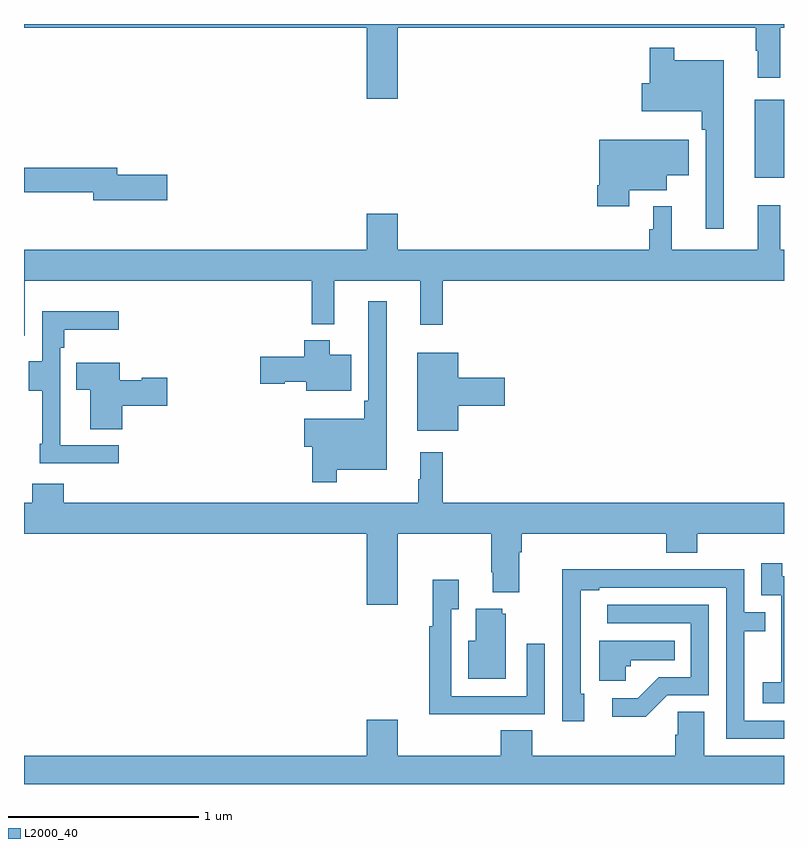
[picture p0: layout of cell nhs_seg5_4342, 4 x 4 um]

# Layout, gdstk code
import gdstk
lib = gdstk.Library(unit=1e-6, precision=1e-09)
def R(c, l, rs):  # rectangles x0, y0, x1, y1
    for r in rs: c.add(gdstk.rectangle(r[:2], r[2:], *l))
def P(c, l, *ps):  # polygons
    for p in ps: c.add(gdstk.Polygon(p, *l))
L2000_40 = (2000, 40)

nhs_seg5_4342 = lib.new_cell('nhs_seg5_4342')
R(nhs_seg5_4342, L2000_40, [(370.847,835.991,371,836.401)])
P(nhs_seg5_4342, L2000_40, [(368.968,836.78),(370.851,836.78),(370.851,836.657),(370.862,836.657),(370.862,836.517),(370.979,836.517),(370.979,836.78),(371,836.78),(371,836.799),(367,836.799),(367,836.78),(368.804,836.78),(368.804,836.406),(368.968,836.406)],
  [(370.684,836.608),(370.423,836.608),(370.423,836.674),(370.294,836.674),(370.294,836.487),(370.25,836.487),(370.25,836.339),(370.567,836.339),(370.567,836.243),(370.587,836.243),(370.587,835.722),(370.684,835.722)],
  [(370.186,835.925),(370.384,835.925),(370.384,836.003),(370.498,836.003),(370.498,836.191),(370.028,836.191),(370.028,835.951),(370.016,835.951),(370.016,835.839),(370.186,835.839)],
  [(367.753,836.006),(367.492,836.006),(367.492,836.042),(367,836.042),(367,835.914),(367.364,835.914),(367.364,835.871),(367.753,835.871)],
  [(367.005,835.448),(368.515,835.448),(368.515,835.22),(368.633,835.22),(368.633,835.448),(369.086,835.448),(369.086,835.215),(369.203,835.215),(369.203,835.448),(371,835.448),(371,835.612),(370.979,835.612),(370.979,835.846),(370.862,835.846),(370.862,835.612),(370.409,835.612),(370.409,835.84),(370.311,835.84),(370.311,835.719),(370.291,835.719),(370.291,835.612),(368.968,835.612),(368.968,835.801),(368.804,835.801),(368.804,835.612),(367,835.612),(367,835.158),(367.005,835.158)],
  [(368.647,834.452),(368.908,834.452),(368.908,835.339),(368.811,835.339),(368.811,834.817),(368.791,834.817),(368.791,834.721),(368.474,834.721),(368.474,834.574),(368.518,834.574),(368.518,834.387),(368.647,834.387)],
  [(367.498,834.582),(367.192,834.582),(367.192,834.779),(367.191,834.779),(367.191,835.094),(367.211,835.094),(367.211,835.19),(367.498,835.19),(367.498,835.288),(367.095,835.288),(367.095,835.023),(367.025,835.023),(367.025,834.868),(367.095,834.868),(367.095,834.589),(367.083,834.589),(367.083,834.486),(367.498,834.486)],
  [(368.722,835.057),(368.608,835.057),(368.608,835.135),(368.474,835.135),(368.474,835.047),(368.244,835.047),(368.244,834.905),(368.373,834.905),(368.373,834.917),(368.486,834.917),(368.486,834.869),(368.722,834.869)],
  [(369.286,834.791),(369.529,834.791),(369.529,834.938),(369.286,834.938),(369.286,835.069),(369.071,835.069),(369.071,834.659),(369.286,834.659)],
  [(367.517,834.791),(367.753,834.791),(367.753,834.938),(367.62,834.938),(367.62,834.925),(367.504,834.925),(367.504,835.015),(367.276,835.015),(367.276,834.875),(367.349,834.875),(367.349,834.667),(367.517,834.667)],
  [(368.968,834.116),(369.46,834.116),(369.46,833.914),(369.467,833.914),(369.467,833.807),(369.607,833.807),(369.607,834.02),(369.62,834.02),(369.62,834.116),(370.379,834.116),(370.379,834.017),(370.544,834.017),(370.544,834.116),(371,834.116),(371,834.28),(369.203,834.28),(369.203,834.544),(369.086,834.544),(369.086,834.404),(369.075,834.404),(369.075,834.28),(367.208,834.28),(367.208,834.379),(367.043,834.379),(367.043,834.28),(367,834.28),(367,834.116),(368.804,834.116),(368.804,833.742),(368.968,833.742)],
  [(371,833.892),(370.99,833.892),(370.99,833.962),(370.881,833.962),(370.881,833.793),(370.986,833.793),(370.986,833.564),(370.985,833.564),(370.985,833.335),(370.887,833.335),(370.887,833.225),(371,833.225)],
  [(371,833.133),(370.791,833.133),(370.791,833.602),(370.901,833.602),(370.901,833.703),(370.791,833.703),(370.791,833.928),(370.295,833.928),(370.295,833.93),(369.832,833.93),(369.832,833.623),(369.834,833.623),(369.834,833.13),(369.949,833.13),(369.949,833.274),(369.93,833.274),(369.93,833.82),(370.027,833.82),(370.027,833.832),(370.695,833.832),(370.695,833.037),(371,833.037)],
  [(369.425,833.166),(369.741,833.166),(369.741,833.536),(369.645,833.536),(369.645,833.262),(369.249,833.262),(369.249,833.719),(369.289,833.719),(369.289,833.875),(369.152,833.875),(369.152,833.63),(369.133,833.63),(369.133,833.165),(369.425,833.165)],
  [(370.386,833.265),(370.605,833.265),(370.605,833.742),(370.071,833.742),(370.071,833.646),(370.509,833.646),(370.509,833.361),(370.34,833.361),(370.229,833.25),(370.095,833.25),(370.095,833.153),(370.273,833.153)],
  [(369.535,833.694),(369.516,833.694),(369.516,833.722),(369.377,833.722),(369.377,833.554),(369.338,833.554),(369.338,833.354),(369.535,833.354)],
  [(370.167,833.418),(370.194,833.418),(370.194,833.45),(370.424,833.45),(370.424,833.554),(370.028,833.554),(370.028,833.342),(370.167,833.342)],
  [(371,832.948),(370.579,832.948),(370.579,833.18),(370.44,833.18),(370.44,833.057),(370.427,833.057),(370.427,832.948),(369.674,832.948),(369.674,833.081),(369.509,833.081),(369.509,832.948),(368.968,832.948),(368.968,833.137),(368.804,833.137),(368.804,832.948),(367,832.948),(367,832.799),(371,832.799)])

lib.write_gds('nhs_seg5_4342.gds')
